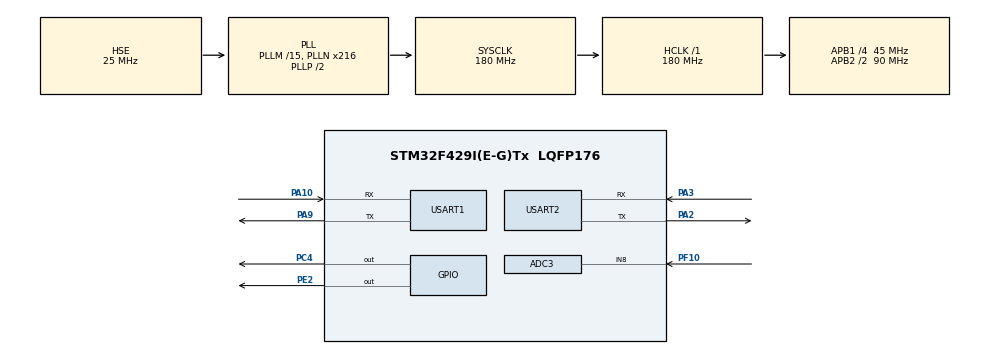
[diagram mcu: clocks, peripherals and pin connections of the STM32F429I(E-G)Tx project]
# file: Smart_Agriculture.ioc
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ADC3.Channel-0\#ChannelRegularConversion=ADC_CHANNEL_8
ADC3.NbrOfConversionFlag=1
ADC3.Rank-0\#ChannelRegularConversion=1
ADC3.SamplingTime-0\#ChannelRegularConversion=ADC_SAMPLETIME_3CYCLES
Mcu.Family=STM32F4
Mcu.Name=STM32F429I(E-G)Tx
Mcu.Package=LQFP176
NVIC.PriorityGroup=NVIC_PRIORITYGROUP_4
NVIC.TIM2_IRQn=true\:0\:0\:false\:false\:true\:true\:true\:true
NVIC.USART1_IRQn=true\:0\:0\:false\:false\:true\:true\:true\:true
NVIC.USART2_IRQn=true\:0\:0\:false\:false\:true\:true\:true\:true
PA10.Mode=Asynchronous
PA10.Signal=USART1_RX
PA2.Mode=Asynchronous
PA2.Signal=USART2_TX
PA3.Mode=Asynchronous
PA3.Signal=USART2_RX
PA9.Mode=Asynchronous
PA9.Signal=USART1_TX
PC4.Signal=GPIO_Output
PE2.PinState=GPIO_PIN_SET
PE2.Signal=GPIO_Output
PF10.Mode=IN8
PF10.Signal=ADC3_IN8
PH0/OSC_IN.Mode=HSE-External-Oscillator
PH0/OSC_IN.Signal=RCC_OSC_IN
PH1/OSC_OUT.Mode=HSE-External-Oscillator
PH1/OSC_OUT.Signal=RCC_OSC_OUT
ProjectManager.HeapSize=0x200
ProjectManager.StackSize=0x400
ProjectManager.TargetToolchain=MDK-ARM V5.32
RCC.48MHZClocksFreq_Value=90000000
RCC.AHBFreq_Value=180000000
RCC.APB1CLKDivider=RCC_HCLK_DIV4
RCC.APB1Freq_Value=45000000
RCC.APB1TimFreq_Value=90000000
RCC.APB2CLKDivider=RCC_HCLK_DIV2
RCC.APB2Freq_Value=90000000
RCC.APB2TimFreq_Value=180000000
RCC.CortexFreq_Value=180000000
RCC.HCLKFreq_Value=180000000
RCC.HSE_VALUE=25000000
RCC.HSI_VALUE=16000000
RCC.LSE_VALUE=32768
RCC.PLLM=15
RCC.PLLN=216
RCC.PLLSourceVirtual=RCC_PLLSOURCE_HSE
RCC.SYSCLKFreq_VALUE=180000000
RCC.SYSCLKSource=RCC_SYSCLKSOURCE_PLLCLK
RCC.VCOOutputFreq_Value=360000000
TIM2.AutoReloadPreload=TIM_AUTORELOAD_PRELOAD_ENABLE
TIM2.Period=1000000-1
TIM2.Prescaler=179
TIM7.Period=1
TIM7.Prescaler=89
USART1.VirtualMode=VM_ASYNC
USART2.VirtualMode=VM_ASYNC
VP_TIM2_VS_ClockSourceINT.Mode=Internal
VP_TIM7_VS_ClockSourceINT.Mode=Enable_Timer
board=custom

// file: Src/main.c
/* USER CODE BEGIN Header */
/**
  ******************************************************************************
  * @file           : main.c
  * @brief          : Main program body
  ******************************************************************************
  * @attention
  *
  * <h2><center>&copy; Copyright (c) 2024 STMicroelectronics.
  * All rights reserved.</center></h2>
  *
  * This software component is licensed by ST under BSD 3-Clause license,
  * the "License"; You may not use this file except in compliance with the
  * License. You may obtain a copy of the License at:
  *                        opensource.org/licenses/BSD-3-Clause
  *
  ******************************************************************************
  */
/* USER CODE END Header */
#include "main.h"
#include "adc.h"
#include "tim.h"
#include "usart.h"
#include "gpio.h"

/* USER CODE BEGIN Includes */
#include <stdio.h>
#include "oled.h"
#include "i2c_hal.h"
#include <string.h>
#include <stdlib.h>
#include <stdarg.h>
/* USER CODE END Includes */

/* USER CODE BEGIN PD */
#define MAX_TIMEOUT 10000
#define TIMEOUT 500 //200
#define RX_BUFFER_SIZE 512
/* USER CODE END PD */

/* USER CODE BEGIN PV */
uint8_t rxBuffer[RX_BUFFER_SIZE];
uint16_t rxIndex = 0;
uint8_t rxData;  // 用于接收单个字节

uint8_t dataReceived = 0;

unsigned char Motor_flag = 0;
unsigned char percentRecv[3] = {0};
float threshold = 2.0;

char buffer[17] = {0};
char buffer2[17] = {0};
/* USER CODE END PV */

void SystemClock_Config(void);
/* USER CODE BEGIN PFP */
void HAL_UART_RxCpltCallback(UART_HandleTypeDef *huart)
{
  if(huart->Instance == USART1)
	{
		threshold = (100 - atoi((char*)percentRecv)) / 100.0 * 3.3;
//		char buffer3[17] = {0};
//		snprintf(buffer3,sizeof(buffer3),"now:   %.2fV \n",threshold);
////		HAL_UART_Transmit(&huart1,(uint8_t *)buffer,sizeof(buffer),1000);
//		HAL_UART_Transmit(&huart1,(uint8_t *)buffer3,sizeof(buffer3),1000);
		HAL_UART_Receive_IT(&huart1,percentRecv,2);
	}
	if(huart->Instance == USART2)
	{
        // 将接收到的字节放入接收缓冲区
        if (rxIndex < RX_BUFFER_SIZE - 1)
        {
            rxBuffer[rxIndex++] = rxData;

            // 如果接收到换行符或达到缓冲区上限，认为一个数据包完整
            if (rxData == '\n' || rxIndex == RX_BUFFER_SIZE - 1)
            {
                rxBuffer[rxIndex] = '\0';  // 添加字符串结束符
                dataReceived = 1;
                rxIndex = 0;  // 重置索引以便下一次接收
            }
        }
        else
        {
            // 防止溢出
            rxIndex = 0;
        }

        // 重新启动中断接收
        HAL_UART_Receive_IT(&huart2, &rxData, 1);
	}
}

void HAL_TIM_PeriodElapsedCallback(TIM_HandleTypeDef *htim)
{
  if(htim == &htim2)
	{
		OLED_ShowString(0,0, (uint8_t *)buffer, 15);
		OLED_ShowString(0,10, (uint8_t *)buffer2, 15);
	}
}

void UART_Printf(const char *format, ...)	// 串口调试打印函数
{
    uint8_t tmp[128];

    va_list argptr;
    va_start(argptr, format);

    // 使用 vsnprintf 限制输出长度
    vsnprintf((char *)tmp, sizeof(tmp), format, argptr);

    va_end(argptr);

    // 发送数据
    HAL_UART_Transmit(&huart1, tmp, strlen((char *)tmp), HAL_MAX_DELAY);
}

// 发送AT指令并等待响应, 阻塞函数方式完成WiFi模块的初始化和测试工作
uint8_t ESP_SendATCommand(char* cmd, char* expected_response, uint32_t timeout)
{
    char response[256];
    HAL_UART_Transmit(&huart2, (uint8_t*)cmd, strlen(cmd), timeout);  // 发送AT指令
    HAL_UART_Receive(&huart2, (uint8_t*)response, sizeof(response) - 1, timeout);  // 接收响应

    if (strstr(response, expected_response) != NULL)
	{
        return 1;  // 成功
    }
	else
	{
        return 0;  // 失败
    }
}

/* 连接WiFi函数 */
uint8_t ESP_ConnectWiFi(char* ssid, char* password)
{
    char cmd[256];
    sprintf(cmd, "AT+CWJAP=\"%s\",\"%s\"\r\n", ssid, password);  // 生成连接WiFi的AT指令
    return ESP_SendATCommand(cmd, "OK", MAX_TIMEOUT);  // 发送命令并等待响应
}

/* 建立TCP连接函数 */
uint8_t ESP_ConnectServer(char* ip, int port)
{
    char cmd[256];
    sprintf(cmd, "AT+CIPSTART=\"TCP\",\"%s\",%d\r\n", ip, port);  // 生成TCP连接的AT指令
    return ESP_SendATCommand(cmd, "CONNECT", TIMEOUT);  // 发送命令并等待响应
}

/* 发送数据函数 */
/**
	这个函数首先发送 `AT+CIPSEND` 来告知ESP-01S要发送的数据长度，然后再发送实际的数据内容。最后检查ESP-01S是否返回`SEND OK`表示数据发送成功。
*/
uint8_t ESP_SendData(char* data)
{
    char cmd[64];
    sprintf(cmd, "AT+CIPSEND=%d\r\n", strlen(data));  // 生成发送数据长度的AT指令
    if (!ESP_SendATCommand(cmd, ">", TIMEOUT)) 	// 检查是否准备好发送数据
		{
        return 0;

    }
    HAL_UART_Transmit(&huart2, (uint8_t*)data, strlen(data), TIMEOUT);  // 发送实际数据
    return ESP_SendATCommand("", "SEND OK", TIMEOUT);  // 检查是否发送成功

}

void ESP_SendData_CIPMODE_1(char *data)
{
	// 关闭中断接收，改为阻塞模式
    HAL_UART_AbortReceive_IT(&huart2);

	HAL_UART_Transmit(&huart2, (uint8_t*)data, strlen(data), TIMEOUT);  // 发送实际数据

	// 重新开启中断接收
    HAL_UART_Receive_IT(&huart2, &rxData, 1);
}

uint8_t ESP_ReceiveData_CIPMODE_1(char *buffer, int buffer_size)
{
	char response[256] = { 0 }; // 临时存储接收的字符
    int index = 0;              // 字符数组索引
    HAL_StatusTypeDef status;
    uint8_t received_byte;

	// 循环读取每个字节，直到遇到结束符或达到缓冲区限制
    while (index < buffer_size - 1)
    {
        // 接收一个字节数据
        status = HAL_UART_Receive(&huart2, &received_byte, 1, 1000);

        if (status == HAL_OK)
        {
            // 将接收到的字节存入响应数组
            response[index++] = received_byte;

            // 检查是否为结束符（假设数据以换行符 '\n' 结束）
            if (received_byte == '\n')
            {
                break;
            }
        }
        else
        {
            // 接收超时或失败，打印调试信息并返回0
            UART_Printf("Failed to receive data\n");
            return 0;
        }
    }

    // 添加字符串结束符
    response[index] = '\0';

    // 打印调试信息，检查接收到的完整响应
    UART_Printf("Response: %s\n", response);

	return 1;
}

/* 接受数据函数 */
void ESP_ReceiveData(char* buffer, int buffer_size)
{
//	HAL_UART_Receive_IT(&huart1, (uint8_t *)g_response, sizeof(g_response));
}

/* 关闭TCP连接函数 */
uint8_t ESP_CloseConnection()
{
    return ESP_SendATCommand("AT+CIPCLOSE\r\n", "CLOSED", TIMEOUT);
}
/* USER CODE END PFP */

/* USER CODE BEGIN 0 */
void MotorStart(float volt)
{
	// 使用静态变量存储上一次调用的时间
	static uint32_t LastStartTime = 0;
	uint32_t CurrentTime = HAL_GetTick();

	if(Motor_flag == 0)
	{
		if(CurrentTime > LastStartTime + 3000 && CurrentTime < LastStartTime + 10000)
			return;
		else if(CurrentTime > LastStartTime + 10000 && volt < threshold)
		{
			HAL_GPIO_WritePin(GPIOE, GPIO_PIN_2, GPIO_PIN_RESET);
			LastStartTime = CurrentTime;
			Motor_flag = 1;
			return;
		}
		else
			return;
	}
	else if(Motor_flag == 1)
	{
		if(CurrentTime < LastStartTime + 3000 )
			return;
		else if(CurrentTime > LastStartTime + 3000 )
		{
			HAL_GPIO_WritePin(GPIOE, GPIO_PIN_2, GPIO_PIN_SET);
			Motor_flag = 0;
			return;
		}
	}
}

/* USER CODE END 0 */

int main(void)
{

  /* MCU Configuration--------------------------------------------------------*/

  /* Reset of all peripherals, Initializes the Flash interface and the Systick. */
  HAL_Init();

  /* Configure the system clock */
  SystemClock_Config();

  /* Initialize all configured peripherals */
  MX_GPIO_Init();
  MX_TIM7_Init();
  MX_USART1_UART_Init();
  MX_ADC3_Init();
  MX_USART2_UART_Init();
  MX_TIM2_Init();
  /* USER CODE BEGIN 2 */
	/* 测试WiFi模块 */
	// 1. 设置ESP8266为STA + AP 模式
  if (ESP_SendATCommand("AT+CWMODE=1\r\n", "OK", TIMEOUT) == 0)
	{
		UART_Printf("WiFi AT+CWMODE=1 Failed!\n");
	}

	// 设置为非透传模式
	if (ESP_SendATCommand("AT+CIPMODE=0\r\n", "OK", TIMEOUT) == 0)
	{
		UART_Printf("Failed to set non-transparent mode\n");
	}

	// 2. 连接WiFi
    if (ESP_ConnectWiFi("Redmi K70", "ac12234567"))	// 电脑开启热点分享
	{
        UART_Printf("WiFi connected\n");
		HAL_GPIO_WritePin(GPIOC, GPIO_PIN_4, GPIO_PIN_SET);	// 亮绿灯, 表示WiFi模块成功连接网络
    }
	else
	{
        UART_Printf("WiFi connection failed\n");
    }

	// 3. 连接服务器
    if (ESP_ConnectServer("121.40.108.31", 8080)) 	// 连接
	{
        UART_Printf("Connected to server\n");
    }
	else
	{
        UART_Printf("Server connection failed\n");
    }

	// 4. 发送测试数据到服务器
    if (ESP_SendData("hello!!! I am ESP-01S"))
	{
        UART_Printf("'hello' sent successfully\n");
    }
	else
	{
        UART_Printf("'hello' send failed\n");
    }
//		if (ESP_SendData("hello!!! I am ESP-01S"))
//		{
//				UART_Printf("'hello' sent successfully\n");
//		}
//		else
//		{
//				UART_Printf("'hello' send failed after retries\n");
//		}

	//是否开启透传模式  0：表示关闭 1：表示开启透传
	if (ESP_SendATCommand("AT+CIPMODE=1\r\n", "OK", TIMEOUT))
	{
		UART_Printf("AT+CIPMODE=1 OK\n");
	}
	else
	{
		UART_Printf("AT+CIPMODE=1 Failed\n");
	}

	//透传模式下 开始发送数据的指令 这个指令之后就可以直接发数据了
	if (ESP_SendATCommand("AT+CIPSEND\r\n", "OK", TIMEOUT))
	{
		UART_Printf("AT+CIPSEND, OK\n");
	}
	else
	{
		UART_Printf("AT+CIPSEND, Failed\n");
	}

  IIC_Init();
  OLED_Init();

  OLED_Clear();

//	OLED_ShowString(0,0, (uint8_t *)"Hello World!", 15);
//	OLED_ShowString(0,10, (uint8_t *)"Festival Happy!", 15);
//	OLED_ShowString(0,12, (uint8_t *)"Weekend Happy!", 15);
//	OLED_ShowString(0,14, (uint8_t *)"Week Happy!", 15);
  /* USER CODE END 2 */

  /* Infinite loop */
  /* USER CODE BEGIN WHILE */
	HAL_UART_Receive_IT(&huart1,percentRecv,2);
	HAL_TIM_Base_Start_IT(&htim2);
  while (1)
  {
		//启动ADC常规序列
		HAL_ADC_Start(&hadc3);
		//轮询等待常规序列转换完成
		HAL_ADC_PollForConversion(&hadc3,HAL_MAX_DELAY);

		//获取常规序列转换结果
		uint32_t result = HAL_ADC_GetValue(&hadc3);
		//result 范围是0 - 4096 正好对应电压是0-3.3V
		float volt = result/4096.0 * 3.3;
		int percent =100 -  volt/3.3 * 100.0;

		//char buffer[17] = {0};
		snprintf(buffer,sizeof(buffer),"result:%.2fV ",volt);
		//OLED_ShowString(0,0, (uint8_t *)buffer, 15);
		//char buffer2[17] = {0};
		snprintf(buffer2,sizeof(buffer2),"       %d%%     \n",percent);
		//OLED_ShowString(0,10, (uint8_t *)buffer2, 15);
		HAL_UART_Transmit(&huart1,(uint8_t *)buffer,sizeof(buffer),1000);
		char buffer3[17] = {0};
		snprintf(buffer3,sizeof(buffer3),"threshold:%.2fV ",threshold);
		HAL_UART_Transmit(&huart1,(uint8_t *)buffer3,sizeof(buffer3),1000);
		HAL_UART_Transmit(&huart1,(uint8_t *)buffer2,sizeof(buffer2),1000);
		MotorStart(volt);
//		HAL_Delay(1000);

//		if(volt<2)
//			HAL_GPIO_WritePin(GPIOE,GPIO_PIN_2,GPIO_PIN_RESET);
//		else
//			HAL_GPIO_WritePin(GPIOE,GPIO_PIN_2,GPIO_PIN_SET);

    /* USER CODE END WHILE */

    /* USER CODE BEGIN 3 */
		ESP_SendData_CIPMODE_1(strcat(buffer,buffer2));
		HAL_Delay(1000);
		if (dataReceived)
		{
			dataReceived = 0;
			UART_Printf((char *)rxBuffer);
		}
  }
  /* USER CODE END 3 */
}

void SystemClock_Config(void)
{
  RCC_OscInitTypeDef RCC_OscInitStruct = {0};
  RCC_ClkInitTypeDef RCC_ClkInitStruct = {0};

  /** Configure the main internal regulator output voltage
  */
  __HAL_RCC_PWR_CLK_ENABLE();
  __HAL_PWR_VOLTAGESCALING_CONFIG(PWR_REGULATOR_VOLTAGE_SCALE1);

  /** Initializes the RCC Oscillators according to the specified parameters
  * in the RCC_OscInitTypeDef structure.
  */
  RCC_OscInitStruct.OscillatorType = RCC_OSCILLATORTYPE_HSE;
  RCC_OscInitStruct.HSEState = RCC_HSE_ON;
  RCC_OscInitStruct.PLL.PLLState = RCC_PLL_ON;
  RCC_OscInitStruct.PLL.PLLSource = RCC_PLLSOURCE_HSE;
  RCC_OscInitStruct.PLL.PLLM = 15;
  RCC_OscInitStruct.PLL.PLLN = 216;
  RCC_OscInitStruct.PLL.PLLP = RCC_PLLP_DIV2;
  RCC_OscInitStruct.PLL.PLLQ = 4;
  if (HAL_RCC_OscConfig(&RCC_OscInitStruct) != HAL_OK)
  {
    Error_Handler();
  }

  /** Activate the Over-Drive mode
  */
  if (HAL_PWREx_EnableOverDrive() != HAL_OK)
  {
    Error_Handler();
  }

  /** Initializes the CPU, AHB and APB buses clocks
  */
  RCC_ClkInitStruct.ClockType = RCC_CLOCKTYPE_HCLK|RCC_CLOCKTYPE_SYSCLK
                              |RCC_CLOCKTYPE_PCLK1|RCC_CLOCKTYPE_PCLK2;
  RCC_ClkInitStruct.SYSCLKSource = RCC_SYSCLKSOURCE_PLLCLK;
  RCC_ClkInitStruct.AHBCLKDivider = RCC_SYSCLK_DIV1;
  RCC_ClkInitStruct.APB1CLKDivider = RCC_HCLK_DIV4;
  RCC_ClkInitStruct.APB2CLKDivider = RCC_HCLK_DIV2;

  if (HAL_RCC_ClockConfig(&RCC_ClkInitStruct, FLASH_LATENCY_5) != HAL_OK)
  {
    Error_Handler();
  }
}

void Error_Handler(void)
{
}
